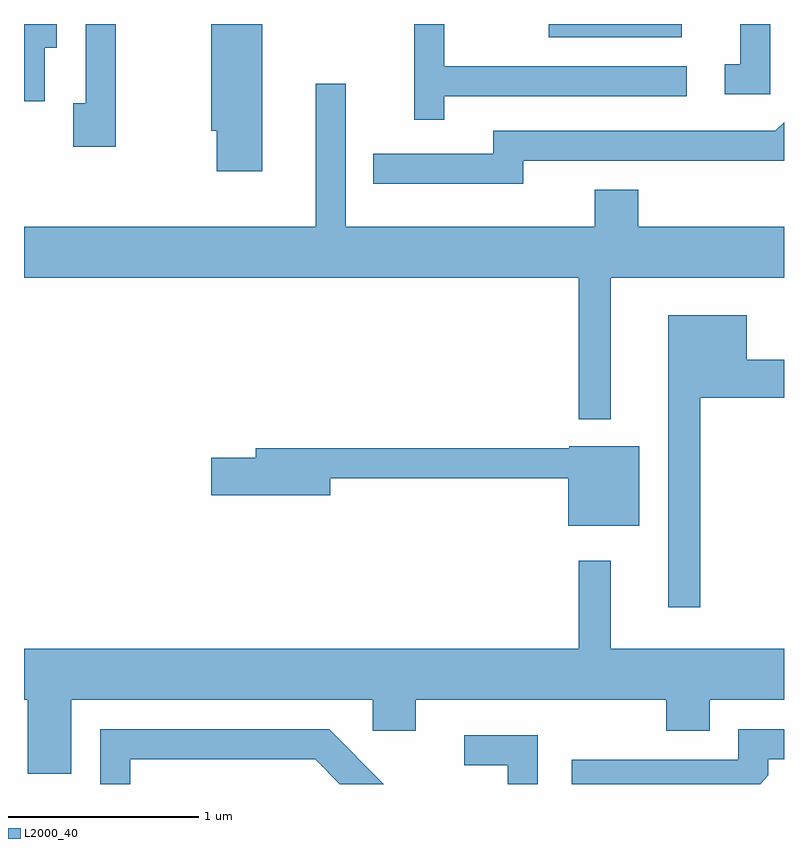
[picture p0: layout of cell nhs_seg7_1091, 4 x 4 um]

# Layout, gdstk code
import gdstk
lib = gdstk.Library(unit=1e-6, precision=1e-09)
def R(c, l, rs):  # rectangles x0, y0, x1, y1
    for r in rs: c.add(gdstk.rectangle(r[:2], r[2:], *l))
def P(c, l, *ps):  # polygons
    for p in ps: c.add(gdstk.Polygon(p, *l))
L2000_40 = (2000, 40)

nhs_seg7_1091 = lib.new_cell('nhs_seg7_1091')
R(nhs_seg7_1091, L2000_40, [(220.373,1782.181,221.074,1782.252)])
P(nhs_seg7_1091, L2000_40, [(218.094,1782.252),(217.936,1782.252),(217.936,1781.834),(217.871,1781.834),(217.871,1781.606),(218.094,1781.606)],
  [(219.824,1781.871),(221.098,1781.871),(221.098,1782.029),(219.824,1782.029),(219.824,1782.252),(219.666,1782.252),(219.666,1781.748),(219.824,1781.748)],
  [(221.539,1782.252),(221.381,1782.252),(221.381,1782.039),(221.298,1782.039),(221.298,1781.881),(221.539,1781.881)],
  [(218.864,1782.252),(218.596,1782.252),(218.596,1781.691),(218.626,1781.691),(218.626,1781.476),(218.864,1781.476)],
  [(217.719,1782.126),(217.784,1782.126),(217.784,1782.252),(217.611,1782.252),(217.611,1781.846),(217.719,1781.846)],
  [(220.699,1780.916),(221.611,1780.916),(221.611,1781.184),(220.844,1781.184),(220.844,1781.379),(220.616,1781.379),(220.616,1781.184),(219.304,1781.184),(219.304,1781.938),(219.146,1781.938),(219.146,1781.184),(217.611,1781.184),(217.611,1780.916),(220.531,1780.916),(220.531,1780.173),(220.699,1780.173)],
  [(220.239,1781.531),(221.611,1781.531),(221.611,1781.736),(221.564,1781.689),(220.081,1781.689),(220.081,1781.569),(219.448,1781.569),(219.448,1781.411),(220.239,1781.411)],
  [(221.169,1780.286),(221.611,1780.286),(221.611,1780.484),(221.414,1780.484),(221.414,1780.719),(221.001,1780.719),(221.001,1779.183),(221.169,1779.183)],
  [(220.849,1780.029),(220.48,1780.029),(220.48,1780.019),(218.831,1780.019),(218.831,1779.969),(218.596,1779.969),(218.596,1779.771),(219.224,1779.771),(219.224,1779.861),(220.476,1779.861),(220.476,1779.611),(220.849,1779.611)],
  [(217.859,1778.696),(219.446,1778.696),(219.446,1778.531),(219.674,1778.531),(219.674,1778.696),(220.991,1778.696),(220.991,1778.531),(221.219,1778.531),(221.219,1778.696),(221.611,1778.696),(221.611,1778.964),(220.699,1778.964),(220.699,1779.428),(220.531,1779.428),(220.531,1778.964),(217.611,1778.964),(217.611,1778.696),(217.631,1778.696),(217.631,1778.306),(217.859,1778.306)],
  [(218.169,1778.381),(219.144,1778.381),(219.273,1778.252),(219.504,1778.252),(219.217,1778.539),(218.011,1778.539),(218.011,1778.252),(218.169,1778.252)],
  [(221.529,1778.297),(221.529,1778.381),(221.611,1778.381),(221.611,1778.539),(221.371,1778.539),(221.371,1778.379),(220.493,1778.379),(220.493,1778.252),(221.485,1778.252)],
  [(220.314,1778.509),(219.928,1778.509),(219.928,1778.351),(220.156,1778.351),(220.156,1778.252),(220.314,1778.252)])

lib.write_gds('nhs_seg7_1091.gds')
